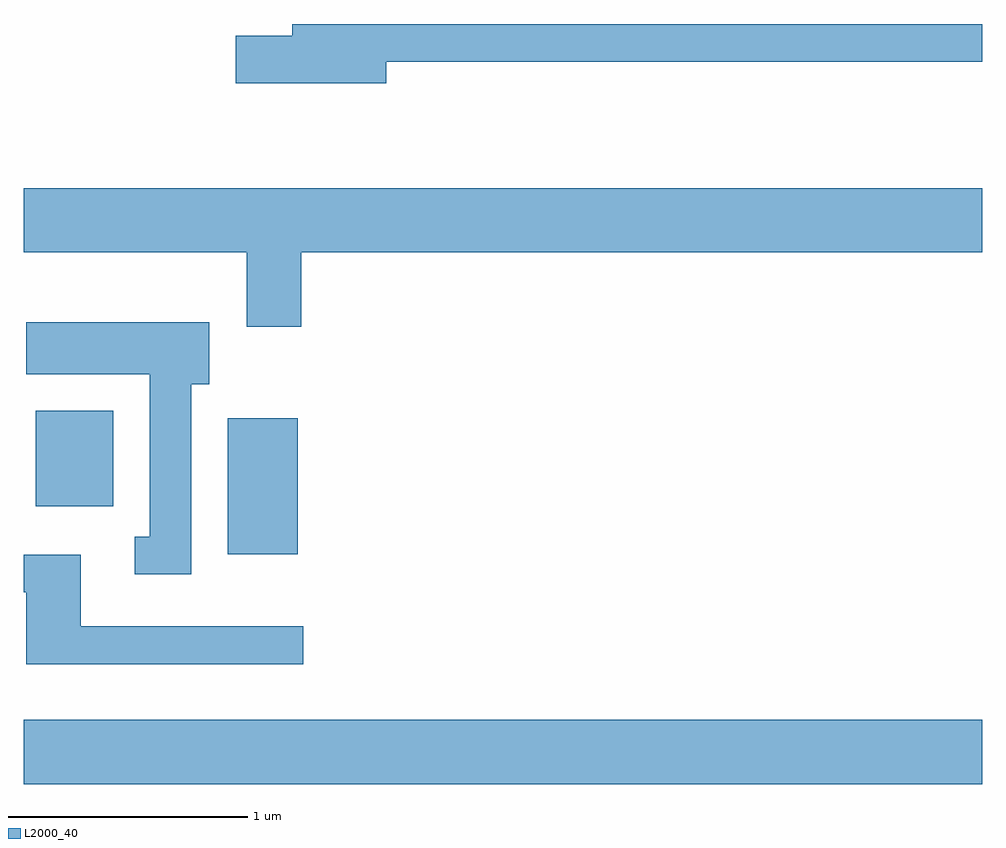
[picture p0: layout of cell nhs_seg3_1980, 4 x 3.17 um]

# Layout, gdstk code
import gdstk
lib = gdstk.Library(unit=1e-6, precision=1e-09)
def R(c, l, rs):  # rectangles x0, y0, x1, y1
    for r in rs: c.add(gdstk.rectangle(r[:2], r[2:], *l))
def P(c, l, *ps):  # polygons
    for p in ps: c.add(gdstk.Polygon(p, *l))
L2000_40 = (2000, 40)

nhs_seg3_1980 = lib.new_cell('nhs_seg3_1980')
R(nhs_seg3_1980, L2000_40, [(243.611,1132.676,247.611,1132.944), (244.461,1133.636,244.754,1134.204), (243.661,1133.836,243.984,1134.234)])
P(nhs_seg3_1980, L2000_40, [(245.124,1135.691),(247.611,1135.691),(247.611,1135.849),(244.731,1135.849),(244.731,1135.799),(244.496,1135.799),(244.496,1135.601),(245.124,1135.601)],
  [(244.769,1134.896),(247.611,1134.896),(247.611,1135.164),(243.611,1135.164),(243.611,1134.896),(244.541,1134.896),(244.541,1134.586),(244.769,1134.586)],
  [(244.309,1134.346),(244.384,1134.346),(244.384,1134.604),(243.621,1134.604),(243.621,1134.386),(244.136,1134.386),(244.136,1133.709),(244.073,1133.709),(244.073,1133.551),(244.309,1133.551)],
  [(244.778,1133.334),(243.849,1133.334),(243.849,1133.634),(243.611,1133.634),(243.611,1133.476),(243.621,1133.476),(243.621,1133.176),(244.778,1133.176)])

lib.write_gds('nhs_seg3_1980.gds')
